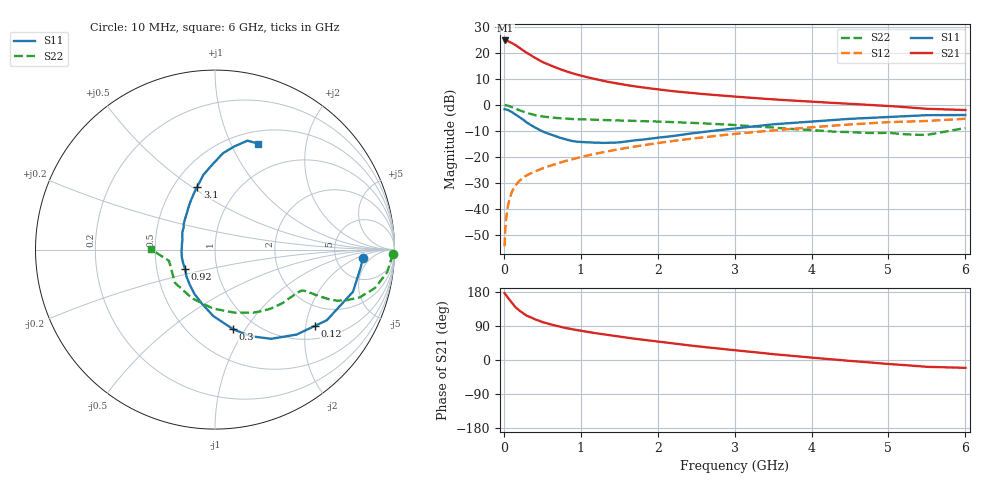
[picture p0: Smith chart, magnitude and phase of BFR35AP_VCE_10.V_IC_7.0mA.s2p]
! (c) 2015  Infineon Technologies AG, Munich
! Infineon Technologies  Discrete & RF Semiconductors
! BFR35AP
! VCE =  10. V,  IC =  7.0 mA
! Common Emitter S-Parameters:  Nov 2015
# GHz  S  MA  R  50
!  f  S11  S21  S12  S22
! GHz  MAG  ANG  MAG  ANG  MAG  ANG  MAG  ANG
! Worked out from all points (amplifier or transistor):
!   210 points, 10 MHz to 6 GHz, reference 50 ohm
!   highest |S21| = 24.8 dB at 20 MHz (marker M1)
!   |S21| within 3 dB of that: start of sweep to 210.6 MHz
!   unconditionally stable (mu >= 1): 762.9 MHz to 2.872 GHz
!   at 185 MHz: K = 0.44, MSG = 26.1 dB, |S12| = -29.8 dB
!   at 1.52 GHz: K = 1.09, MAG = 10.6 dB, |S12| = -17.0 dB
!   at 6 GHz: K = 0.88, MSG = 1.7 dB, |S12| = -5.3 dB
!   S11 on the Smith chart (normalised r, x): 10 MHz: 9.56, -2.84; 120 MHz: 1.35, -2.25; 300 MHz: 0.79, -0.88; 920 MHz: 0.70, -0.15; 3.1 GHz: 0.65, +0.53; 6 GHz: 0.64, +1.28
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0.01  0.8247 -3.3  17.35 176.5  0.0019 95.5  0.991 -1.4
0.02  0.8186 -6.7  17.4 173.3  0.0043 83.3  0.9839 -3.0
0.05  0.8039 -17.0  17.04 165.0  0.0106 81.8  0.9679 -7.4
0.1  0.7369 -32.3  15.7 152.0  0.0204 74.5  0.9166 -13.5
0.12  0.6997 -37.5  15.04 147.3  0.0234 71.1  0.8899 -15.3
0.15  0.6561 -46.2  14.26 139.5  0.0281 67.5  0.8515 -18.1
0.2  0.5873 -57.8  12.64 130.7  0.034 64.8  0.7916 -20.8
0.26  0.507 -69.5  10.96 121.8  0.0404 62.2  0.7325 -22.8
0.3  0.4551 -77.1  10.02 116.6  0.0441 61.6  0.6981 -23.5
0.4  0.3707 -91.4  8.134 107.7  0.0519 60.8  0.636 -24.1
0.5  0.3098 -103.6  6.716 100.1  0.0596 61.0  0.598 -24.3
0.6  0.2717 -115.1  5.779 94.3  0.067 61.4  0.5753 -24.4
0.7  0.2403 -126.0  5.061 89.1  0.0748 62.3  0.5572 -24.6
0.92  0.1981 -147.6  3.94 80.0  0.0923 62.8  0.532 -25.6
1.02  0.1921 -158.4  3.596 76.5  0.1004 63.0  0.5255 -26.4
1.4  0.1874 169.5  2.696 64.6  0.1314 62.6  0.5059 -30.3
2.02  0.2348 136.2  1.972 48.1  0.1853 59.3  0.4766 -39.2
2.56  0.2973 117.7  1.632 35.2  0.2344 55.3  0.4431 -49.0
3.1  0.3647 105.7  1.409 23.8  0.2847 50.0  0.3996 -61.6
4.1  0.4898 90.0  1.131 4.5  0.3798 39.1  0.3186 -96.4
5.1  0.5934 78.2  0.932 -11.9  0.4691 25.4  0.2804 -145.0
6  0.6377 67.7  0.796 -20.7  0.5409 14.7  0.3576 179.6
